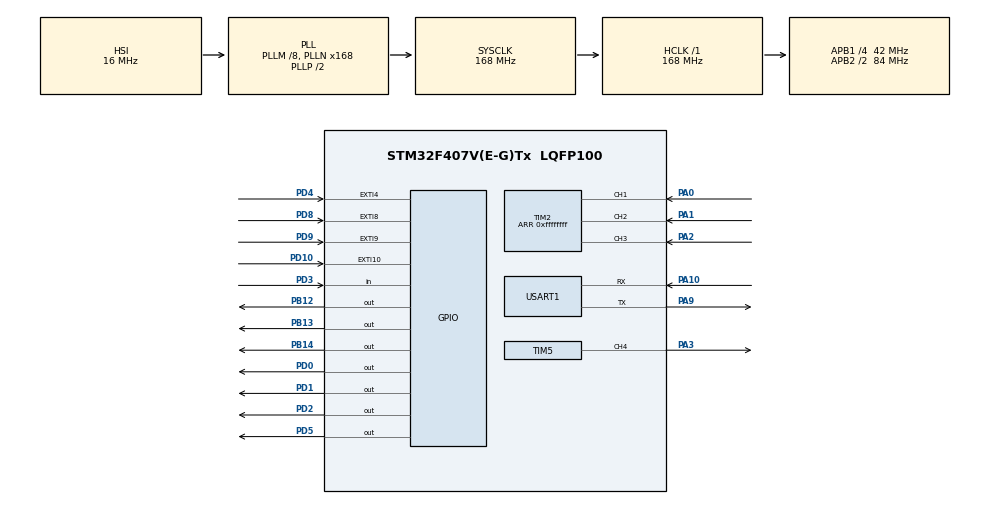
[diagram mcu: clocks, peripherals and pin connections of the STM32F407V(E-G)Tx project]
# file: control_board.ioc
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Dma.Request0=TIM2_UP/CH3
Dma.TIM2_UP/CH3.0.Direction=DMA_PERIPH_TO_MEMORY
Dma.TIM2_UP/CH3.0.FIFOMode=DMA_FIFOMODE_DISABLE
Dma.TIM2_UP/CH3.0.Instance=DMA1_Stream1
Dma.TIM2_UP/CH3.0.MemDataAlignment=DMA_MDATAALIGN_WORD
Dma.TIM2_UP/CH3.0.MemInc=DMA_MINC_ENABLE
Dma.TIM2_UP/CH3.0.Mode=DMA_CIRCULAR
Dma.TIM2_UP/CH3.0.PeriphDataAlignment=DMA_PDATAALIGN_WORD
Dma.TIM2_UP/CH3.0.PeriphInc=DMA_PINC_DISABLE
Dma.TIM2_UP/CH3.0.Priority=DMA_PRIORITY_VERY_HIGH
Mcu.Family=STM32F4
Mcu.Name=STM32F407V(E-G)Tx
Mcu.Package=LQFP100
NVIC.DMA1_Stream1_IRQn=true\:0\:0\:false\:false\:true\:false\:true\:true
NVIC.PriorityGroup=NVIC_PRIORITYGROUP_4
NVIC.TIM1_UP_TIM10_IRQn=true\:15\:0\:false\:false\:true\:false\:true\:true
NVIC.TIM4_IRQn=true\:0\:0\:false\:false\:true\:true\:true\:true
NVIC.TimeBase=TIM1_UP_TIM10_IRQn
NVIC.TimeBaseIP=TIM1
NVIC.USART1_IRQn=true\:0\:0\:false\:false\:true\:true\:true\:true
PA0-WKUP.Signal=S_TIM2_CH1_ETR
PA1.Signal=S_TIM2_CH2
PA10.Mode=Asynchronous
PA10.Signal=USART1_RX
PA13.Mode=Serial_Wire
PA13.Signal=SYS_JTMS-SWDIO
PA14.Mode=Serial_Wire
PA14.Signal=SYS_JTCK-SWCLK
PA2.Signal=S_TIM2_CH3
PA3.Signal=S_TIM5_CH4
PA9.Mode=Asynchronous
PA9.Signal=USART1_TX
PB12.GPIO_Speed=GPIO_SPEED_FREQ_VERY_HIGH
PB12.Signal=GPIO_Output
PB13.GPIO_Speed=GPIO_SPEED_FREQ_VERY_HIGH
PB13.Signal=GPIO_Output
PB14.GPIO_Speed=GPIO_SPEED_FREQ_VERY_HIGH
PB14.Signal=GPIO_Output
PD0.GPIO_Speed=GPIO_SPEED_FREQ_VERY_HIGH
PD0.Signal=GPIO_Output
PD1.GPIO_Speed=GPIO_SPEED_FREQ_VERY_HIGH
PD1.Signal=GPIO_Output
PD10.GPIO_ModeDefaultEXTI=GPIO_MODE_IT_FALLING
PD10.GPIO_PuPd=GPIO_PULLUP
PD10.Signal=GPXTI10
PD2.GPIO_Speed=GPIO_SPEED_FREQ_VERY_HIGH
PD2.Signal=GPIO_Output
PD3.Signal=GPIO_Input
PD4.GPIO_ModeDefaultEXTI=GPIO_MODE_IT_FALLING
PD4.GPIO_PuPd=GPIO_PULLUP
PD4.Signal=GPXTI4
PD5.Signal=GPIO_Output
PD8.GPIO_ModeDefaultEXTI=GPIO_MODE_IT_FALLING
PD8.GPIO_PuPd=GPIO_PULLUP
PD8.Signal=GPXTI8
PD9.GPIO_ModeDefaultEXTI=GPIO_MODE_IT_FALLING
PD9.GPIO_PuPd=GPIO_PULLUP
PD9.Signal=GPXTI9
PH0-OSC_IN.Mode=HSE-External-Oscillator
PH0-OSC_IN.Signal=RCC_OSC_IN
PH1-OSC_OUT.Mode=HSE-External-Oscillator
PH1-OSC_OUT.Signal=RCC_OSC_OUT
ProjectManager.HeapSize=0x200
ProjectManager.StackSize=0x400
ProjectManager.TargetToolchain=MDK-ARM V5
RCC.48MHZClocksFreq_Value=84000000
RCC.AHBFreq_Value=168000000
RCC.APB1CLKDivider=RCC_HCLK_DIV4
RCC.APB1Freq_Value=42000000
RCC.APB1TimFreq_Value=84000000
RCC.APB2CLKDivider=RCC_HCLK_DIV2
RCC.APB2Freq_Value=84000000
RCC.APB2TimFreq_Value=168000000
RCC.CortexFreq_Value=168000000
RCC.HCLKFreq_Value=168000000
RCC.HSE_VALUE=25000000
RCC.HSI_VALUE=16000000
RCC.LSE_VALUE=32768
RCC.PLLM=8
RCC.PLLN=168
RCC.SYSCLKFreq_VALUE=168000000
RCC.SYSCLKSource=RCC_SYSCLKSOURCE_PLLCLK
RCC.VCOOutputFreq_Value=336000000
SH.S_TIM2_CH1_ETR.0=TIM2_CH1,Xored_Inputs_Hall_Sensor_Interface
SH.S_TIM2_CH2.0=TIM2_CH2,Xored_Inputs_Hall_Sensor_Interface
SH.S_TIM2_CH3.0=TIM2_CH3,Xored_Inputs_Hall_Sensor_Interface
SH.S_TIM5_CH4.0=TIM5_CH4,PWM Generation4 CH4
TIM2.AutoReloadPreload=TIM_AUTORELOAD_PRELOAD_ENABLE
TIM2.IC1Filter=5
TIM2.Period=0xffffffff
TIM4.AutoReloadPreload=TIM_AUTORELOAD_PRELOAD_ENABLE
TIM4.Period=999
TIM4.Prescaler=83
TIM5.AutoReloadPreload=TIM_AUTORELOAD_PRELOAD_ENABLE
TIM5.Channel-PWM\ Generation4\ CH4=TIM_CHANNEL_4
TIM5.ClockDivision=TIM_CLOCKDIVISION_DIV1
TIM5.Period=999
TIM5.Prescaler=83
TIM5.Pulse-PWM\ Generation4\ CH4=500
USART1.VirtualMode=VM_ASYNC
VP_SYS_VS_tim1.Mode=TIM1
VP_TIM2_VS_ClockSourceINT.Mode=Internal
VP_TIM4_VS_ClockSourceINT.Mode=Internal
VP_TIM5_VS_ClockSourceINT.Mode=Internal
board=custom

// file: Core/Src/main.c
/* USER CODE BEGIN Header */
/**
  ******************************************************************************
  * @file           : main.c
  * @brief          : Main program body
  ******************************************************************************
  * @attention
  *
  * Copyright (c) 2025 STMicroelectronics.
  * All rights reserved.
  *
  * This software is licensed under terms that can be found in the LICENSE file
  * in the root directory of this software component.
  * If no LICENSE file comes with this software, it is provided AS-IS.
  *
  ******************************************************************************
  */
/* USER CODE END Header */
#include "main.h"
#include "dma.h"
#include "tim.h"
#include "usart.h"
#include "gpio.h"

/* USER CODE BEGIN Includes */

#include "bsp_usart.h"
#include "bsp_motor.h"
#include "motor_sensor.h"

/* USER CODE END Includes */

/* USER CODE BEGIN PTD */

extern DMA_HandleTypeDef hdma_tim2_up_ch3;
extern volatile uint8_t Sensorflag1;
extern volatile uint8_t Sensorflag2;
extern volatile uint8_t Sensorflag3;
extern volatile uint8_t Sensorflag4;
extern uint32_t hall_dma_buffer[];
uint8_t receive_byte=0;
/* USER CODE END PTD */

void SystemClock_Config(void);

int main(void)
{

  /* MCU Configuration--------------------------------------------------------*/

  /* Reset of all peripherals, Initializes the Flash interface and the Systick. */
  HAL_Init();

  /* Configure the system clock */
  SystemClock_Config();

  /* Initialize all configured peripherals */
  MX_GPIO_Init();
  MX_DMA_Init();
  MX_TIM2_Init();
  MX_TIM5_Init();
  MX_USART1_UART_Init();
  MX_TIM4_Init();
  /* USER CODE BEGIN 2 */
  HAL_TIM_Encoder_Start(&htim2, TIM_CHANNEL_ALL);//启动3输入编码模式
	HAL_TIM_Base_Start_IT(&htim4);//启动定时器4处理任务

  // 启动 DMA，注意这里不使用 HAL_DMA_IRQHandler，不启用 NVIC
  HAL_DMA_Start(&hdma_tim2_up_ch3, (uint32_t)&TIM2->CCR1, (uint32_t)hall_dma_buffer, HALL_DMA_BUF_SIZE);

	HAL_UART_Receive_IT(&huart1,&receive_byte,1);

  // 启用定时器的 DMA 请求
  __HAL_TIM_ENABLE_DMA(&htim2, TIM_DMA_CC1);
  HAL_TIM_PWM_Start(&htim5, TIM_CHANNEL_4);//启动pwm输出
	//USART1_Start_Receive();//启动串口接收
	motor_sensor_init();//开启4个传感器
  /* USER CODE END 2 */

  /* Infinite loop */
  while (1)
  {

    /* USER CODE BEGIN 3 */
//		uint8_t buf[64]={0};
//		HAL_UART_Receive(&huart1,buf,11,-1);
//		ProcessData(buf);

  }
  /* USER CODE END 3 */
}

void SystemClock_Config(void)
{
  RCC_OscInitTypeDef RCC_OscInitStruct = {0};
  RCC_ClkInitTypeDef RCC_ClkInitStruct = {0};

  /** Configure the main internal regulator output voltage
  */
  __HAL_RCC_PWR_CLK_ENABLE();
  __HAL_PWR_VOLTAGESCALING_CONFIG(PWR_REGULATOR_VOLTAGE_SCALE1);

  /** Initializes the RCC Oscillators according to the specified parameters
  * in the RCC_OscInitTypeDef structure.
  */
  RCC_OscInitStruct.OscillatorType = RCC_OSCILLATORTYPE_HSI;
  RCC_OscInitStruct.HSIState = RCC_HSI_ON;
  RCC_OscInitStruct.HSICalibrationValue = RCC_HSICALIBRATION_DEFAULT;
  RCC_OscInitStruct.PLL.PLLState = RCC_PLL_ON;
  RCC_OscInitStruct.PLL.PLLSource = RCC_PLLSOURCE_HSI;
  RCC_OscInitStruct.PLL.PLLM = 8;
  RCC_OscInitStruct.PLL.PLLN = 168;
  RCC_OscInitStruct.PLL.PLLP = RCC_PLLP_DIV2;
  RCC_OscInitStruct.PLL.PLLQ = 4;
  if (HAL_RCC_OscConfig(&RCC_OscInitStruct) != HAL_OK)
  {
    Error_Handler();
  }

  /** Initializes the CPU, AHB and APB buses clocks
  */
  RCC_ClkInitStruct.ClockType = RCC_CLOCKTYPE_HCLK|RCC_CLOCKTYPE_SYSCLK
                              |RCC_CLOCKTYPE_PCLK1|RCC_CLOCKTYPE_PCLK2;
  RCC_ClkInitStruct.SYSCLKSource = RCC_SYSCLKSOURCE_PLLCLK;
  RCC_ClkInitStruct.AHBCLKDivider = RCC_SYSCLK_DIV1;
  RCC_ClkInitStruct.APB1CLKDivider = RCC_HCLK_DIV4;
  RCC_ClkInitStruct.APB2CLKDivider = RCC_HCLK_DIV2;

  if (HAL_RCC_ClockConfig(&RCC_ClkInitStruct, FLASH_LATENCY_5) != HAL_OK)
  {
    Error_Handler();
  }
}

/* USER CODE BEGIN 4 */

void HAL_GPIO_EXTI_Callback(uint16_t GPIO_Pin) {
  if (GPIO_Pin==GPIO_PIN_8) {
    Sensorflag1=1;
    // 通知任务
  }else if (GPIO_Pin==GPIO_PIN_9) {
    Sensorflag2=1;
    // 通知任务
  }else if (GPIO_Pin==GPIO_PIN_10) {
    Sensorflag3=1;
     // 通知任务
  }else if (GPIO_Pin==GPIO_PIN_4) {
    Sensorflag4=1;
     // 通知任务
  }

}
/* USER CODE END 4 */

//void HAL_TIM_PeriodElapsedCallback(TIM_HandleTypeDef *htim)
//{
//  /* USER CODE BEGIN Callback 0 */

//  /* USER CODE END Callback 0 */
//  if (htim->Instance == TIM1)
//  {
//    HAL_IncTick();
//  }
//  /* USER CODE BEGIN Callback 1 */

//  /* USER CODE END Callback 1 */
//}

void Error_Handler(void)
{
  __disable_irq();
  while (1)
  {
  }
}
